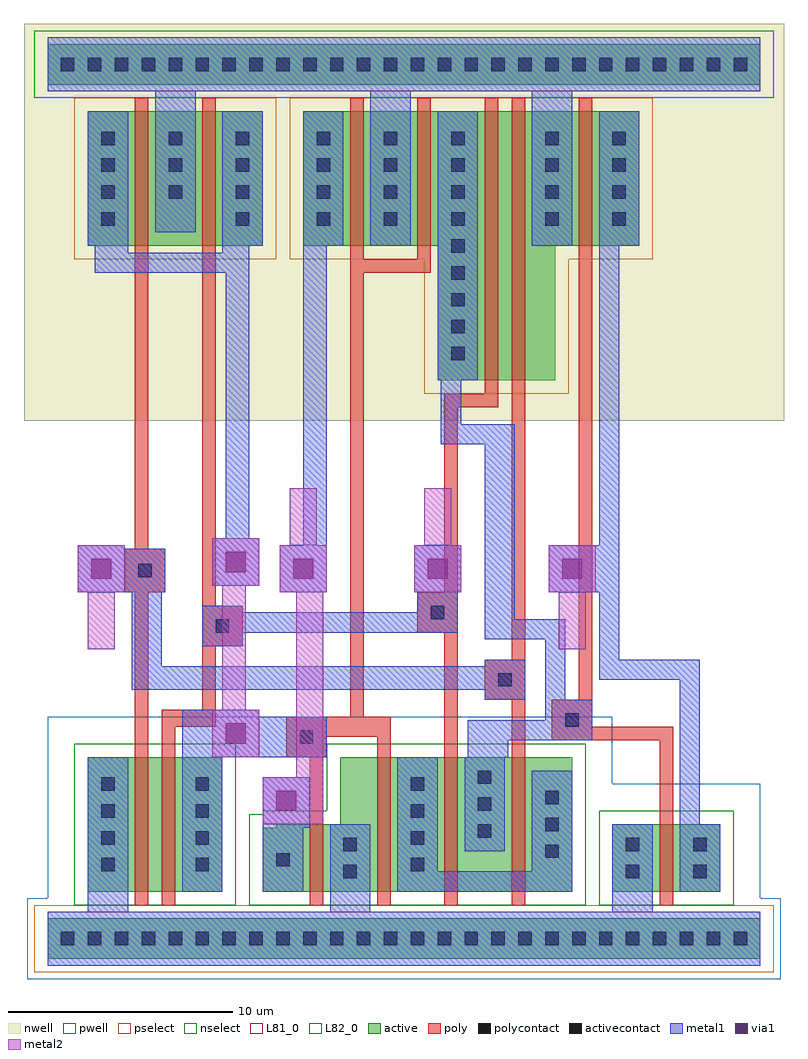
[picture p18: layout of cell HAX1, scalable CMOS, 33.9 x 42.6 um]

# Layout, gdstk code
import gdstk
lib = gdstk.Library(unit=1e-6, precision=1e-09)
def R(c, l, rs):  # rectangles x0, y0, x1, y1
    for r in rs: c.add(gdstk.rectangle(r[:2], r[2:], *l))
def A(c, l, x, y, w, h, nx, ny, dx, dy):  # array of equal rectangles
    R(c, l, [(x+i*dx, y+j*dy, x+i*dx+w, y+j*dy+h) for i in range(nx) for j in range(ny)])
pwell = (41, 0)
nwell = (42, 0)
active = (43, 0)
pselect = (44, 0)
nselect = (45, 0)
poly = (46, 0)
polycontact = (47, 0)
activecontact = (48, 0)
metal1 = (49, 0)
via1 = (50, 0)
metal2 = (51, 0)
L81_0 = (81, 0)
L82_0 = (82, 0)

hax1 = lib.new_cell('HAX1')
R(hax1, pwell, [(-1.8,-1.8,31.8,1.8), (-0.9,1.8,30.9,6.9), (-0.9,6.9,24.3,9.9)])
R(hax1, nwell, [(-1.95,23.1,31.95,40.8)])
R(hax1, active, [(-0.9,-0.9,30.9,0.9), (0.9,2.1,6.9,8.1), (8.7,2.1,22.5,4.95), (24.3,2.1,29.1,5.1), (9.3,4.95,22.5,5.1), (12.15,5.1,22.5,8.1), (16.5,24.9,21.75,30.9), (0.9,30.9,8.7,36.9), (10.5,30.9,25.5,36.9), (-0.9,38.1,30.9,39.9)])
R(hax1, pselect, [(-1.5,-1.5,31.5,1.5), (15.9,24.3,22.35,30.3), (0.3,30.3,9.3,37.5), (9.9,30.3,26.1,37.5)])
R(hax1, nselect, [(0.3,1.5,7.5,8.7), (8.1,1.5,23.1,5.55), (23.7,1.5,29.7,5.7), (8.7,5.55,23.1,5.7), (11.55,5.7,23.1,8.7), (-1.5,37.5,31.5,40.5)])
R(hax1, poly, [(3,1.5,3.6,15.45), (4.2,1.5,4.8,9.45), (10.8,1.5,11.4,8.1), (13.8,1.5,14.4,9), (16.8,1.5,17.4,13.65), (19.8,1.5,20.4,10.65), (26.4,1.5,27,8.85), (9.75,8.1,11.55,9), (21.6,8.85,27,9.45), (9.75,9,14.4,9.9), (4.2,9.45,6.6,10.2), (21.6,9.45,23.4,10.65), (12.6,9.9,13.2,29.7), (6,10.2,6.6,13.05), (18.6,10.65,20.4,12.45), (22.8,10.65,23.4,37.5), (19.8,12.45,20.4,37.5), (6,13.05,7.8,14.85), (15.6,13.65,17.4,15.45), (6,14.85,6.6,37.5), (2.55,15.45,4.35,17.4), (16.8,15.45,17.4,23.7), (3,17.4,3.6,37.5), (16.8,23.7,19.2,24.3), (18.6,24.3,19.2,37.5), (12.6,29.7,16.2,30.3), (12.6,30.3,13.2,37.5), (15.6,30.3,16.2,37.5)])
R(hax1, polycontact, [(10.35,8.7,10.95,9.3), (22.2,9.45,22.8,10.05), (19.2,11.25,19.8,11.85), (6.6,13.65,7.2,14.25), (16.2,14.25,16.8,14.85), (3.15,16.12,3.75,16.72)])
A(hax1, activecontact, -0.3, -0.3, 0.6, 0.6, 26, 2, 1.2, 39)
A(hax1, activecontact, 1.5, 3, 0.6, 0.6, 1, 4, 0, 1.2)
A(hax1, activecontact, 5.7, 3, 0.6, 0.6, 1, 4, 0, 1.2)
A(hax1, activecontact, 15.3, 3, 0.6, 0.6, 1, 4, 0, 1.2)
A(hax1, activecontact, 21.3, 3.6, 0.6, 0.6, 1, 3, 0, 1.2)
A(hax1, activecontact, 18.3, 4.5, 0.6, 0.6, 1, 3, 0, 1.2)
A(hax1, activecontact, 17.1, 25.8, 0.6, 0.6, 1, 5, 0, 1.2)
A(hax1, activecontact, 11.1, 31.8, 0.6, 0.6, 3, 4, 3, 1.2)
A(hax1, activecontact, 21.3, 31.8, 0.6, 0.6, 1, 4, 0, 1.2)
A(hax1, activecontact, 24.3, 31.8, 0.6, 0.6, 1, 4, 0, 1.2)
A(hax1, activecontact, 1.5, 33, 0.6, 0.6, 3, 3, 3, 1.2)
R(hax1, activecontact, [(12.3,2.7,12.9,3.3), (24.9,2.7,25.5,3.3), (27.9,2.7,28.5,3.3), (9.3,3.22,9.9,3.82), (12.3,3.9,12.9,4.5), (24.9,3.9,25.5,4.5), (27.9,3.9,28.5,4.5), (1.5,31.8,2.1,32.4), (7.5,31.8,8.1,32.4)])
R(hax1, metal1, [(-0.9,-1.2,30.9,1.2), (0.9,1.2,2.7,8.1), (11.7,1.2,13.5,5.1), (24.3,1.2,26.1,5.1), (5.1,2.1,6.9,8.1), (8.7,2.1,10.5,4.95), (14.7,2.1,22.5,3), (27.3,2.1,29.1,5.1), (14.7,3,16.5,8.1), (20.7,3,22.5,7.5), (17.7,3.9,19.5,8.1), (8.7,4.95,10.8,7.2), (27.3,5.1,28.2,11.55), (5.1,8.1,11.55,9.9), (17.85,8.1,19.65,8.85), (17.85,8.85,23.4,9.75), (21.3,9.75,23.4,10.65), (5.1,9.9,8.55,10.2), (18.6,10.65,20.4,11.1), (21.3,10.65,22.2,13.35), (2.85,11.1,20.4,12.15), (23.7,11.55,28.2,12.45), (2.85,12.15,4.2,15.45), (18.6,12.15,20.4,12.45), (23.7,12.45,24.6,15.45), (6,13.05,7.8,13.65), (18.6,13.35,22.2,14.25), (6,13.65,17.4,14.55), (18.6,14.25,19.95,22.05), (6,14.55,7.8,14.85), (15.6,14.55,17.4,15.45), (0.45,15.45,4.35,17.4), (9.45,15.45,11.55,17.55), (15.45,15.45,17.55,17.55), (21.45,15.45,24.6,17.55), (6.45,15.75,8.55,17.85), (0.45,17.4,2.55,17.55), (10.5,17.55,11.55,30.9), (23.7,17.55,24.6,30.9), (7.05,17.85,8.1,29.7), (16.65,22.05,19.95,22.95), (16.65,22.95,17.55,24.9), (16.5,24.9,18.3,36.9), (1.2,29.7,8.1,30.6), (1.2,30.6,2.7,30.9), (6.9,30.6,8.1,30.9), (0.9,30.9,2.7,36.9), (6.9,30.9,8.7,36.9), (10.5,30.9,12.3,36.9), (13.5,30.9,15.3,37.8), (20.7,30.9,22.5,37.8), (23.7,30.9,25.5,36.9), (3.9,31.5,5.7,37.8), (-0.9,37.8,30.9,40.2)])
A(hax1, via1, 10.05, 16.05, 0.9, 0.9, 3, 1, 6, 0)
R(hax1, via1, [(9.3,5.7,10.2,6.6), (7.05,8.7,7.95,9.6), (1.05,16.05,1.95,16.95), (7.05,16.35,7.95,17.25)])
A(hax1, metal2, 9.45, 15.45, 2.1, 2.1, 3, 1, 6, 0)
R(hax1, metal2, [(8.7,5.1,11.4,7.2), (10.2,7.2,11.4,15.45), (6.45,8.1,8.55,10.2), (6.9,10.2,7.95,15.75), (0.9,12.9,2.1,15.45), (21.9,12.9,23.1,15.45), (0.45,15.45,2.55,17.55), (6.45,15.75,8.55,17.85), (9.9,17.55,11.1,20.1), (15.9,17.55,17.1,20.1)])
R(hax1, L81_0, [(-0.9,-1.2,30.9,1.2), (-0.9,37.8,30.9,40.2)])
R(hax1, L82_0, [(0.9,12.9,2.1,15.45), (21.9,12.9,23.1,15.45), (9.9,17.55,11.1,20.1), (15.9,17.55,17.1,20.1)])

lib.write_gds('HAX1.gds')
